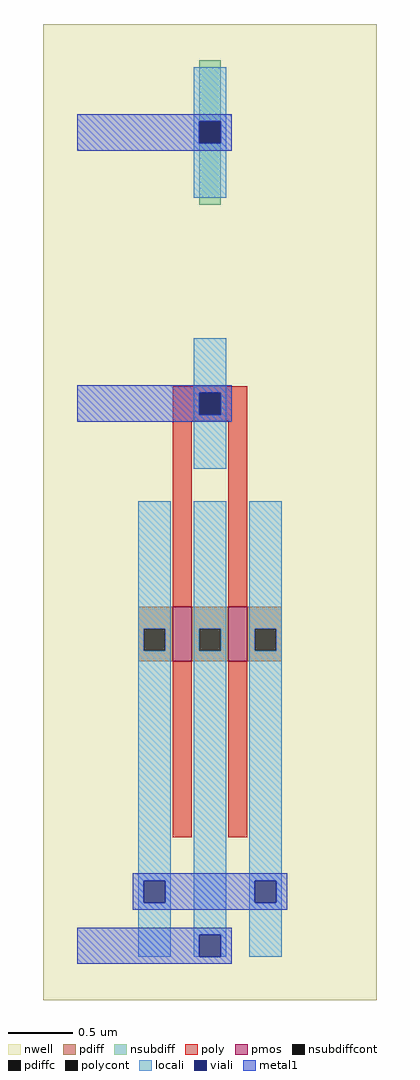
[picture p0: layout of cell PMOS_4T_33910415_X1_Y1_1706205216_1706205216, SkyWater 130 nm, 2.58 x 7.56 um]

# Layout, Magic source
magic
tech sky130A
magscale 1 2
<< nwell >>
rect 0 0 516 1512
<< pmos >>
rect 200 525 230 609
rect 286 525 316 609
<< pdiff >>
rect 147 575 200 609
rect 147 541 155 575
rect 189 541 200 575
rect 147 525 200 541
rect 230 575 286 609
rect 230 541 241 575
rect 275 541 286 575
rect 230 525 286 541
rect 316 575 369 609
rect 316 541 327 575
rect 361 541 369 575
rect 316 525 369 541
<< pdiffc >>
rect 155 541 189 575
rect 241 541 275 575
rect 327 541 361 575
<< nsubdiff >>
rect 241 1361 275 1456
rect 241 1232 275 1327
<< nsubdiffcont >>
rect 241 1327 275 1361
<< poly >>
rect 200 941 316 951
rect 200 907 241 941
rect 275 907 316 941
rect 200 897 316 907
rect 200 609 230 897
rect 286 609 316 897
rect 200 252 230 525
rect 286 252 316 525
<< polycont >>
rect 241 907 275 941
<< locali >>
rect 233 1361 283 1445
rect 233 1327 241 1361
rect 275 1327 283 1361
rect 233 1243 283 1327
rect 233 941 283 1025
rect 233 907 241 941
rect 275 907 283 941
rect 233 823 283 907
rect 147 575 197 773
rect 147 541 155 575
rect 189 541 197 575
rect 147 185 197 541
rect 147 151 155 185
rect 189 151 197 185
rect 147 67 197 151
rect 233 575 283 773
rect 233 541 241 575
rect 275 541 283 575
rect 233 101 283 541
rect 233 67 241 101
rect 275 67 283 101
rect 319 575 369 773
rect 319 541 327 575
rect 361 541 369 575
rect 319 185 369 541
rect 319 151 327 185
rect 361 151 369 185
rect 319 67 369 151
<< viali >>
rect 241 1327 275 1361
rect 241 907 275 941
rect 155 151 189 185
rect 241 67 275 101
rect 327 151 361 185
<< metal1 >>
rect 52 1361 292 1372
rect 52 1327 241 1361
rect 275 1327 292 1361
rect 52 1316 292 1327
rect 52 941 292 952
rect 52 907 241 941
rect 275 907 292 941
rect 52 896 292 907
rect 138 185 378 196
rect 138 151 155 185
rect 189 151 327 185
rect 361 151 378 185
rect 138 140 378 151
rect 52 101 292 112
rect 52 67 241 101
rect 275 67 292 101
rect 52 56 292 67
<< end >>
